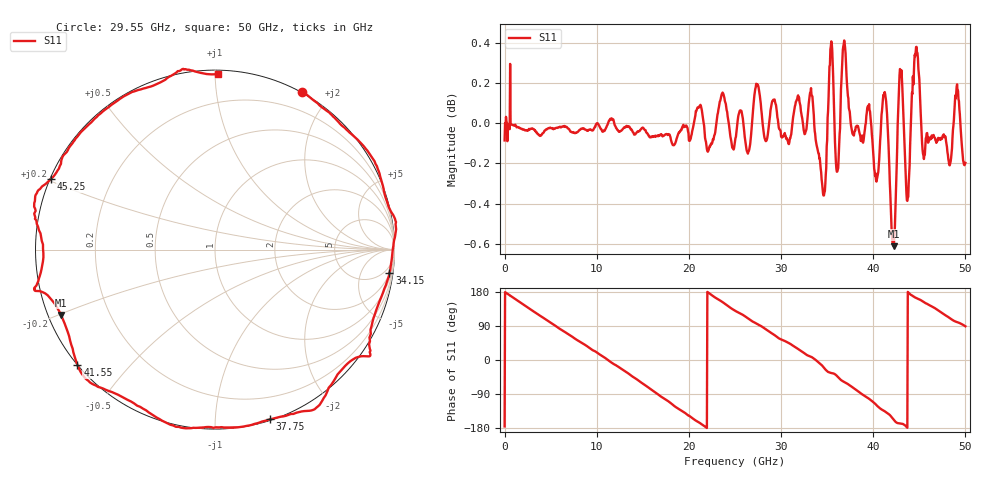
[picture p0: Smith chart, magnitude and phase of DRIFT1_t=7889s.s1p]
!Created with skrf (http://scikit-rf.org).
# Hz S RI R 50.0
!freq ReS11 ImS11
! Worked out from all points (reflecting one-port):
!   1001 points, 300 kHz to 50 GHz, reference 50 ohm
!   lowest |S11| = -0.6 dB at 42.2 GHz (marker M1), VSWR 28.41, Z = 1.83 - j10.2 ohm
!   phase of S11 starts at -175 deg and turns -816 deg over the sweep
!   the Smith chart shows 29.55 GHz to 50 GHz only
!   S11 on the Smith chart (normalised r, x): 29.55 GHz: -0.01, +1.70; 34.15 GHz: 2, -15; 37.75 GHz: 0.01, -1.38; 41.55 GHz: 0.00, -0.36; 45.25 GHz: 0.00, +0.21; 50 GHz: 0.02, +1.02
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300000  -0.9868 -0.0812
1.500291e9  -0.9055 0.4185
3.30028e9  -0.5807 0.8092
6.250262e9  0.2019 0.9775
9.500243e9  0.8911 0.4447
1.250022e10  0.9322 -0.3484
1.580021e10  0.239 -0.9627
1.73502e10  -0.2108 -0.9706
1.875019e10  -0.5969 -0.7931
2.150017e10  -0.9925 -0.1496
2.350016e10  -0.9222 0.4253
2.500015e10  -0.6373 0.757
2.735014e10  -0.1067 1.017
2.955012e10  0.487 0.8805
3.125011e10  0.7846 0.6217
3.30501e10  0.9968 0.1848
3.41501e10  0.9713 -0.13
3.520009e10  0.8623 -0.5515
3.750008e10  0.3779 -0.9297
3.775007e10  0.3071 -0.9453
3.955006e10  -0.2173 -0.9873
4.155005e10  -0.7663 -0.6423
4.220005e10  -0.8578 -0.3645
4.290004e10  -1.007 -0.2254
4.375004e10  -0.9582 0.00374
4.525003e10  -0.9129 0.3944
4.775001e10  -0.4848 0.8655
5e10  0.0187 0.9774
